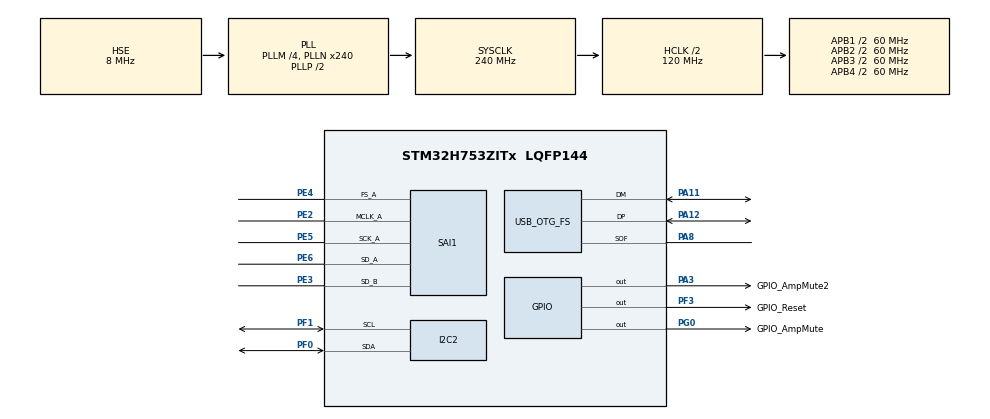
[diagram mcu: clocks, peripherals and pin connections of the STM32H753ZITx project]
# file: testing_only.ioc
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CORTEX_M7.CPU_DCache=Disabled
CORTEX_M7.CPU_ICache=Disabled
CORTEX_M7.MPU_Control=__NULL
CORTEX_M7.default_mode_Activation=1
Dma.Request0=SAI1_A
Dma.Request1=SAI1_B
Dma.SAI1_A.0.Direction=DMA_MEMORY_TO_PERIPH
Dma.SAI1_A.0.EventEnable=DISABLE
Dma.SAI1_A.0.FIFOMode=DMA_FIFOMODE_ENABLE
Dma.SAI1_A.0.FIFOThreshold=DMA_FIFO_THRESHOLD_HALFFULL
Dma.SAI1_A.0.Instance=DMA1_Stream0
Dma.SAI1_A.0.MemBurst=DMA_MBURST_SINGLE
Dma.SAI1_A.0.MemDataAlignment=DMA_MDATAALIGN_WORD
Dma.SAI1_A.0.MemInc=DMA_MINC_ENABLE
Dma.SAI1_A.0.Mode=DMA_CIRCULAR
Dma.SAI1_A.0.PeriphBurst=DMA_PBURST_SINGLE
Dma.SAI1_A.0.PeriphDataAlignment=DMA_PDATAALIGN_WORD
Dma.SAI1_A.0.PeriphInc=DMA_PINC_DISABLE
Dma.SAI1_A.0.Polarity=HAL_DMAMUX_REQ_GEN_RISING
Dma.SAI1_A.0.Priority=DMA_PRIORITY_LOW
Dma.SAI1_A.0.RequestNumber=1
Dma.SAI1_A.0.SignalID=NONE
Dma.SAI1_A.0.SyncEnable=DISABLE
Dma.SAI1_A.0.SyncPolarity=HAL_DMAMUX_SYNC_NO_EVENT
Dma.SAI1_A.0.SyncRequestNumber=1
Dma.SAI1_A.0.SyncSignalID=NONE
Dma.SAI1_B.1.Direction=DMA_MEMORY_TO_PERIPH
Dma.SAI1_B.1.EventEnable=DISABLE
Dma.SAI1_B.1.FIFOMode=DMA_FIFOMODE_ENABLE
Dma.SAI1_B.1.FIFOThreshold=DMA_FIFO_THRESHOLD_HALFFULL
Dma.SAI1_B.1.Instance=DMA1_Stream1
Dma.SAI1_B.1.MemBurst=DMA_MBURST_SINGLE
Dma.SAI1_B.1.MemDataAlignment=DMA_MDATAALIGN_WORD
Dma.SAI1_B.1.MemInc=DMA_MINC_ENABLE
Dma.SAI1_B.1.Mode=DMA_CIRCULAR
Dma.SAI1_B.1.PeriphBurst=DMA_PBURST_SINGLE
Dma.SAI1_B.1.PeriphDataAlignment=DMA_PDATAALIGN_WORD
Dma.SAI1_B.1.PeriphInc=DMA_PINC_DISABLE
Dma.SAI1_B.1.Polarity=HAL_DMAMUX_REQ_GEN_RISING
Dma.SAI1_B.1.Priority=DMA_PRIORITY_LOW
Dma.SAI1_B.1.RequestNumber=1
Dma.SAI1_B.1.SignalID=NONE
Dma.SAI1_B.1.SyncEnable=DISABLE
Dma.SAI1_B.1.SyncPolarity=HAL_DMAMUX_SYNC_NO_EVENT
Dma.SAI1_B.1.SyncRequestNumber=1
Dma.SAI1_B.1.SyncSignalID=NONE
I2C2.Timing=0x107075B0
Mcu.Family=STM32H7
Mcu.Name=STM32H753ZITx
Mcu.Package=LQFP144
Mcu.UserConstants=SAMPLES_PER_FRAME,256;NUM_SLOTS_PER_SAI,8
NUCLEO-H753ZI.BUTTON=1
NUCLEO-H753ZI.LD1=true
NUCLEO-H753ZI.LD2=true
NUCLEO-H753ZI.LD3=true
NUCLEO-H753ZI.VCP=true
NVIC.DMA1_Stream0_IRQn=true\:0\:0\:false\:false\:true\:false\:true\:true
NVIC.DMA1_Stream1_IRQn=true\:0\:0\:false\:false\:true\:false\:true\:true
NVIC.EXTI15_10_IRQn=true\:0\:0\:false\:false\:true\:false\:true\:true
NVIC.OTG_FS_IRQn=true\:0\:0\:false\:false\:true\:false\:true\:true
NVIC.PriorityGroup=NVIC_PRIORITYGROUP_4
PA11.Mode=Device_Only
PA11.Signal=USB_OTG_FS_DM
PA12.Mode=Device_Only
PA12.Signal=USB_OTG_FS_DP
PA3.GPIO_Label=GPIO_AmpMute2
PA3.Signal=GPIO_Output
PA8.Mode=Activate_SOF_FS
PA8.Signal=USB_OTG_FS_SOF
PC14-OSC32_IN\ (OSC32_IN).Signal=RCC_OSC32_IN
PC15-OSC32_OUT\ (OSC32_OUT).Signal=RCC_OSC32_OUT
PE2.Mode=SAI_A_MasterWithClock
PE2.Signal=SAI1_MCLK_A
PE3.Mode=SAI_B_SyncSlave
PE3.Signal=SAI1_SD_B
PE4.Mode=SAI_A_MasterWithClock
PE4.Signal=SAI1_FS_A
PE5.Mode=SAI_A_MasterWithClock
PE5.Signal=SAI1_SCK_A
PE6.Mode=SAI_A_MasterWithClock
PE6.Signal=SAI1_SD_A
PF0.Mode=I2C
PF0.Signal=I2C2_SDA
PF1.Mode=I2C
PF1.Signal=I2C2_SCL
PF3.GPIO_Label=GPIO_Reset
PF3.Signal=GPIO_Output
PG0.GPIO_Label=GPIO_AmpMute
PG0.PinState=GPIO_PIN_SET
PG0.Signal=GPIO_Output
PH0-OSC_IN\ (PH0).Mode=HSE-External-Oscillator
PH0-OSC_IN\ (PH0).Signal=RCC_OSC_IN
PH1-OSC_OUT\ (PH1).Mode=HSE-External-Oscillator
PH1-OSC_OUT\ (PH1).Signal=RCC_OSC_OUT
ProjectManager.HeapSize=0x200
ProjectManager.StackSize=0x400
ProjectManager.TargetToolchain=STM32CubeIDE
RCC.ADCFreq_Value=12288000
RCC.APB1Freq_Value=60000000
RCC.APB2Freq_Value=60000000
RCC.APB3Freq_Value=60000000
RCC.APB4Freq_Value=60000000
RCC.CKPERSourceSelection=RCC_CLKPSOURCE_HSE
RCC.CortexFreq_Value=240000000
RCC.D1PPRE=RCC_APB3_DIV2
RCC.D2PPRE1=RCC_APB1_DIV2
RCC.D2PPRE2=RCC_APB2_DIV2
RCC.D3PPRE=RCC_APB4_DIV2
RCC.DIVM1=4
RCC.DIVM2=5
RCC.DIVM3=2
RCC.DIVN1=240
RCC.DIVN2=192
RCC.DIVN3=192
RCC.DIVP2=25
RCC.DIVP3=6
RCC.DIVQ1=10
RCC.DIVQ3=16
RCC.HCLKFreq_Value=120000000
RCC.HPRE=RCC_HCLK_DIV2
RCC.HSE_VALUE=8000000
RCC.PLL2FRACN=0
RCC.PLL3FRACN=0
RCC.PLLFRACN=0
RCC.PLLSourceVirtual=RCC_PLLSOURCE_HSE
RCC.PWR_Regulator_Voltage_Scale=PWR_REGULATOR_VOLTAGE_SCALE0
RCC.SYSCLKFreq_VALUE=240000000
RCC.SYSCLKSource=RCC_SYSCLKSOURCE_PLLCLK
RCC.USBFreq_Value=48000000
SAI1.AudioFrequency-SAI_A_MasterWithClock=SAI_AUDIO_FREQUENCY_48K
SAI1.AudioMode-SAI_B_SyncSlave=SAI_MODESLAVE_TX
SAI1.DataSize-SAI_A_MasterWithClock=SAI_DATASIZE_24
SAI1.DataSize-SAI_B_SyncSlave=SAI_DATASIZE_24
SAI1.ErrorAudioFreq-SAI_A_MasterWithClock=290.62 %
SAI1.FrameLength-SAI_A_MasterWithClock=256
SAI1.FrameLength-SAI_B_SyncSlave=256
SAI1.Instance-SAI_A_MasterWithClock=SAI$Index_Block_A
SAI1.Instance-SAI_B_SyncSlave=SAI$Index_Block_B
SAI1.MClockEnable-SAI_A_MasterWithClock=SAI_MASTERCLOCK_ENABLE
SAI1.NoDivider-SAI_A_MasterWithClock=SAI_MCK_OVERSAMPLING_DISABLE
SAI1.RealAudioFreq-SAI_A_MasterWithClock=187.5 KHz
SAI1.SlotActive-SAI_A_MasterWithClock=0x000000FF
SAI1.SlotActive-SAI_B_SyncSlave=0x000000FF
SAI1.SlotNumber-SAI_A_MasterWithClock=8
SAI1.SlotNumber-SAI_B_SyncSlave=8
SAI1.SlotSize-SAI_A_MasterWithClock=SAI_SLOTSIZE_32B
SAI1.SlotSize-SAI_B_SyncSlave=SAI_SLOTSIZE_32B
SAI1.VirtualMode-SAI_A_MasterWithClock=VM_MASTER
SAI1.VirtualMode-SAI_B_SyncSlave=VM_SLAVE
SAI1.VirtualSlotActive-SAI_A_MasterWithClock=SAI_SLOT_USERSETTING
SAI1.VirtualSlotActive-SAI_B_SyncSlave=SAI_SLOT_USERSETTING
SAI1.VirtualSlotActive0-SAI_A_MasterWithClock=true
SAI1.VirtualSlotActive0-SAI_B_SyncSlave=true
SAI1.VirtualSlotActive1-SAI_A_MasterWithClock=true
SAI1.VirtualSlotActive1-SAI_B_SyncSlave=true
SAI1.VirtualSlotActive2-SAI_A_MasterWithClock=true
SAI1.VirtualSlotActive2-SAI_B_SyncSlave=true
SAI1.VirtualSlotActive3-SAI_A_MasterWithClock=true
SAI1.VirtualSlotActive3-SAI_B_SyncSlave=true
SAI1.VirtualSlotActive4-SAI_A_MasterWithClock=true
SAI1.VirtualSlotActive4-SAI_B_SyncSlave=true
SAI1.VirtualSlotActive5-SAI_A_MasterWithClock=true
SAI1.VirtualSlotActive5-SAI_B_SyncSlave=true
SAI1.VirtualSlotActive6-SAI_A_MasterWithClock=true
SAI1.VirtualSlotActive6-SAI_B_SyncSlave=true
SAI1.VirtualSlotActive7-SAI_A_MasterWithClock=true
SAI1.VirtualSlotActive7-SAI_B_SyncSlave=true
USB_DEVICE.CLASS_NAME_FS=AUDIO
USB_DEVICE.USBD_AUDIO_FREQ-AUDIO_FS=48000
USB_DEVICE.VirtualMode-AUDIO_FS=Audio
USB_DEVICE.VirtualModeFS=Audio_FS
USB_OTG_FS.VirtualMode=Device_Only
USB_OTG_FS.dma_enable=ENABLE
VP_MEMORYMAP_VS_MEMORYMAP.Mode=CurAppReg
VP_NUCLEO-H753ZI_VS_BSP_COMMON.Mode=COMMON
VP_USB_DEVICE_VS_USB_DEVICE_AUDIO_FS.Mode=AUDIO_FS
board=NUCLEO-H753ZI

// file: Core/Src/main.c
/* USER CODE BEGIN Header */
/**
  ******************************************************************************
  * @file           : main.c
  * @brief          : Main program body
  ******************************************************************************
  * @attention
  *
  * Copyright (c) 2026 STMicroelectronics.
  * All rights reserved.
  *
  * This software is licensed under terms that can be found in the LICENSE file
  * in the root directory of this software component.
  * If no LICENSE file comes with this software, it is provided AS-IS.
  *
  ******************************************************************************
  */
/* USER CODE END Header */
#include "main.h"
#include "usb_device.h"

/* USER CODE BEGIN Includes */
#include <usbd_audio.h>
#include <stdbool.h>
#include "dac.h"
/* USER CODE END Includes */

/* USER CODE BEGIN PM */
extern USBD_HandleTypeDef hUsbDeviceFS;

/* USER CODE END PM */

COM_InitTypeDef BspCOMInit;

I2C_HandleTypeDef hi2c2;

SAI_HandleTypeDef hsai_BlockA1;
SAI_HandleTypeDef hsai_BlockB1;
DMA_HandleTypeDef hdma_sai1_a;
DMA_HandleTypeDef hdma_sai1_b;

/* USER CODE BEGIN PV */
// DMA buffers
#define BUFFER_SIZE (SAMPLES_PER_FRAME * NUM_SLOTS_PER_SAI)

__attribute__((aligned(32))) int32_t audioBuffer_sai1a[BUFFER_SIZE * 2]; // Multiply by 2 for ping-pong buffer.
int32_t * const audioBuffer_sai1a_half = audioBuffer_sai1a + BUFFER_SIZE;
int32_t * const audioBuffer_sai1a_end = audioBuffer_sai1a + 2 * BUFFER_SIZE;

__attribute__((aligned(32))) int32_t audioBuffer_sai1b[BUFFER_SIZE * 2]; // Multiply by 2 for ping-pong buffer.
int32_t * const audioBuffer_sai1b_half = audioBuffer_sai1b + BUFFER_SIZE;

/* USER CODE END PV */

void SystemClock_Config(void);
static void MX_GPIO_Init(void);
static void MX_DMA_Init(void);
static void MX_SAI1_Init(void);
static void MX_I2C2_Init(void);
/* USER CODE BEGIN PFP */
void start_dma()
{
	int err;
	err = HAL_SAI_Transmit_DMA(&hsai_BlockB1, (uint8_t *) audioBuffer_sai1b, sizeof(audioBuffer_sai1b) / sizeof(audioBuffer_sai1b[0]));
	printf("Start DMA on 1B returns %d\r\n", err);
	err = HAL_SAI_Transmit_DMA(&hsai_BlockA1, (uint8_t *) audioBuffer_sai1a, sizeof(audioBuffer_sai1a) / sizeof(audioBuffer_sai1a[0]));
	printf("Start DMA on 1A returned %d\r\n", err);
}

// UART transmit function for printf.
#if 0
int _write(int file, char *ptr, int len)
{
	HAL_UART_Transmit(&huart3, (uint8_t*) ptr, len, HAL_MAX_DELAY);
	return len;
}
#endif

int _write(int file, char *ptr, int len)
{
    for (int i = 0; i < len; i++)
    {
        ITM_SendChar((*ptr++));   // Send each character via ITM
    }
    return len;
}

float sine_wave[48];
float const * sine_end = sine_wave + 48;
float *psine_ptr = sine_wave;

#define SAMPLE_RATE 48000.0f
#define FREQ        1000.0f

void generate_sine_1k(float *buffer)
{
    const int samples = (int)(SAMPLE_RATE / FREQ);   // 48 samples
    for (int i = 0; i < samples; i++)
    {
        float phase = (2.0f * M_PI * i) / samples;
        buffer[i] = 0.3 * sinf(phase);
    }
}

// Subwoofer gain multiplier
float sub_gain = 1.0;

// Buffers for processing beam-forming.
#define CH_BLOCK_SIZE 256
float beam_in_temp[2][CH_BLOCK_SIZE];
float lfe_out[CH_BLOCK_SIZE];
float beam_inp[2][CH_BLOCK_SIZE] = {0};
float beam_out[12][CH_BLOCK_SIZE] = {0};
// Pointers for passing to Beamer library.
float * pbeam_inp[2];
float *pbeam_out[16] = {0};
#define BEAM_OUT_STORAGE_SIZE (CH_BLOCK_SIZE * 8)
// This is a temporary buffer used to store output from the
// beamer. The thirteenth channel is the LFE channel.
float beam_out_storage[13][BEAM_OUT_STORAGE_SIZE] = {0};
int beam_out_read_index_a = 0;
int beam_out_write_index = CH_BLOCK_SIZE * 1;

void init_beamforming_pointers()
{
	pbeam_inp[0] = beam_inp[0];
	pbeam_inp[1] = beam_inp[1];
	for (int i = 0; i < 12; ++i)
	{
		pbeam_out[i] = beam_out[i];
	}
}

size_t avail_usb_samples()
{
	USBD_AUDIO_HandleTypeDef *usba = (USBD_AUDIO_HandleTypeDef *) hUsbDeviceFS.pClassData;
	if (usba == NULL)
		return 0;
	uint16_t r = usba->rd_ptr;
	uint16_t w = usba->wr_ptr;

	r /= 2; // Convert to 16-bit size
	w /= 2;
	return (w >= r) ? (w - r) : (w - r + AUDIO_TOTAL_BUF_SIZE / 2);
}

int16_t next_usb_sample()
{
	USBD_AUDIO_HandleTypeDef *usba = (USBD_AUDIO_HandleTypeDef *) hUsbDeviceFS.pClassData;
	assert(usba->rd_ptr != usba->wr_ptr);
	int16_t rv = *(int16_t *) &usba->buffer[usba->rd_ptr];
	usba->rd_ptr += 2;
	if (usba->rd_ptr == AUDIO_TOTAL_BUF_SIZE)
		usba->rd_ptr = 0;
	return rv;
}

int dma_samples = 0;

void fill_as_much_as_possible2(int32_t *cur_a, int32_t * const cur_a_end, int32_t *cur_b)
{
	static int counter = 0;
	if (counter++ % 256 == 0)
	{
		BSP_LED_Toggle(LED_GREEN);
	}
	bool scan_on = false;
	int scan_channel = -1;
	if (beam_out_read_index_a != beam_out_write_index)
	{
		for (int i = 0; i < SAMPLES_PER_FRAME; ++i)
		{
			int j;
			for (j = 0; j < 13; ++j)
			{
				int32_t temp;
				float tempb = beam_out_storage[j][i + beam_out_read_index_a];
				tempb = fmaxf(-1.0f, fminf(tempb, 1.0));
				temp = (int32_t) (tempb * 2147483647.0f);
				temp >>= 12;
				if (scan_on && j != scan_channel)
					temp = 0;
				if (j < 8)
				{
					*cur_a = temp;
					++cur_a;
				}
				else
				{
					*cur_b = temp;
					++cur_b;
				}
			}
			// Clear out the upper three channels of b.
			for (j = 0; j < 3; ++j)
			{
				*cur_b++ = 0;
			}
		}
		dma_samples++;
		beam_out_read_index_a += CH_BLOCK_SIZE;
		if (beam_out_read_index_a == BEAM_OUT_STORAGE_SIZE)
			beam_out_read_index_a = 0;
		if (beam_out_read_index_a != beam_out_write_index)
		{
			BSP_LED_Toggle(LED_RED);
		}
	}
	else
	{
		int counter = 0;
		while (cur_a != cur_a_end)
		{
			if (0 && (counter++ % 8 == 0))
			{
				float temp = (*psine_ptr++ * 2147483647.0f);
				*cur_a = (int32_t) temp;
				if (psine_ptr == sine_end)
					psine_ptr = sine_wave;
				*cur_a >>= 12;
				*cur_b = 0;
			}
			else
			{
				*cur_a = *cur_b = 0;
			}
			cur_a++;
			cur_b++;
		}
	}
}

void HAL_SAI_TxHalfCpltCallback(SAI_HandleTypeDef *hsai)
{
	if (hsai == &hsai_BlockA1)
	{
		fill_as_much_as_possible2(audioBuffer_sai1a, audioBuffer_sai1a_half, audioBuffer_sai1b);
	}
}

void HAL_SAI_TxCpltCallback(SAI_HandleTypeDef *hsai)
{
	if (hsai == &hsai_BlockA1)
	{
		fill_as_much_as_possible2(audioBuffer_sai1a_half, audioBuffer_sai1a_end, audioBuffer_sai1b_half);
	}
}

volatile int proc_counter = 0;
volatile int proc_diff = 0;

void process_beamer()
{
#if 1
	while (1)
	{
		size_t samples = avail_usb_samples();
		if (samples < CH_BLOCK_SIZE * 2)
			break;

		proc_counter++;
		proc_diff = proc_counter - dma_samples;

		// Transfer int16_t data to floating point in beam_inp[0] and beam_inp[1].
		for (int i = 0; i < CH_BLOCK_SIZE; ++i)
		{
			int16_t usb = next_usb_sample();
			float fusb = (float) usb;
			beam_in_temp[0][i] = fusb * 0.0000152587890625f; // Dividing by 65536
			usb = next_usb_sample();
			fusb = (float) usb;
			beam_in_temp[1][i] = fusb * 0.0000152587890625f;
		}
		// Just copy to the two outputs.
		memcpy(&beam_out_storage[0][beam_out_write_index], beam_in_temp[0], CH_BLOCK_SIZE * sizeof(float));
		memcpy(&beam_out_storage[1][beam_out_write_index], beam_in_temp[1], CH_BLOCK_SIZE * sizeof(float));

		beam_out_write_index += CH_BLOCK_SIZE;
		if (beam_out_write_index == BEAM_OUT_STORAGE_SIZE)
			beam_out_write_index = 0;

		if (beam_out_write_index == beam_out_read_index_a)
		{
			BSP_LED_Toggle(LED_YELLOW);
		}
	}
#endif
}

/* USER CODE END PFP */

int main(void)
{

  /* USER CODE BEGIN 1 */
	init_beamforming_pointers();
	generate_sine_1k(sine_wave);

  /* USER CODE END 1 */

  /* MCU Configuration--------------------------------------------------------*/

  /* Reset of all peripherals, Initializes the Flash interface and the Systick. */
  HAL_Init();

  /* Configure the system clock */
  SystemClock_Config();

  /* Initialize all configured peripherals */
  MX_GPIO_Init();
  MX_DMA_Init();
  MX_USB_DEVICE_Init();
  MX_SAI1_Init();
  MX_I2C2_Init();

  /* Initialize leds */
  BSP_LED_Init(LED_GREEN);
  BSP_LED_Init(LED_YELLOW);
  BSP_LED_Init(LED_RED);

  /* Initialize USER push-button, will be used to trigger an interrupt each time it's pressed.*/
  BSP_PB_Init(BUTTON_USER, BUTTON_MODE_EXTI);

  /* Initialize COM1 port (115200, 8 bits (7-bit data + 1 stop bit), no parity */
  BspCOMInit.BaudRate   = 115200;
  BspCOMInit.WordLength = COM_WORDLENGTH_8B;
  BspCOMInit.StopBits   = COM_STOPBITS_1;
  BspCOMInit.Parity     = COM_PARITY_NONE;
  BspCOMInit.HwFlowCtl  = COM_HWCONTROL_NONE;
  if (BSP_COM_Init(COM1, &BspCOMInit) != BSP_ERROR_NONE)
  {
    Error_Handler();
  }

  /* Infinite loop */
  /* USER CODE BEGIN WHILE */
  start_dma();

  reset_dacs();
  HAL_Delay(100);
  init_dacs();
  printf("Entering loop\n\r");
  mute_dacs(false);
  mute_amps(false);
  while (1)
  {
	  HAL_Delay(2);
	  process_beamer();

    /* USER CODE END WHILE */

  }
}

void SystemClock_Config(void)
{
  RCC_OscInitTypeDef RCC_OscInitStruct = {0};
  RCC_ClkInitTypeDef RCC_ClkInitStruct = {0};

  /** Supply configuration update enable
  */
  HAL_PWREx_ConfigSupply(PWR_LDO_SUPPLY);

  /** Configure the main internal regulator output voltage
  */
  __HAL_PWR_VOLTAGESCALING_CONFIG(PWR_REGULATOR_VOLTAGE_SCALE0);

  while(!__HAL_PWR_GET_FLAG(PWR_FLAG_VOSRDY)) {}

  /** Initializes the RCC Oscillators according to the specified parameters
  * in the RCC_OscInitTypeDef structure.
  */
  RCC_OscInitStruct.OscillatorType = RCC_OSCILLATORTYPE_HSE;
  RCC_OscInitStruct.HSEState = RCC_HSE_ON;
  RCC_OscInitStruct.PLL.PLLState = RCC_PLL_ON;
  RCC_OscInitStruct.PLL.PLLSource = RCC_PLLSOURCE_HSE;
  RCC_OscInitStruct.PLL.PLLM = 4;
  RCC_OscInitStruct.PLL.PLLN = 240;
  RCC_OscInitStruct.PLL.PLLP = 2;
  RCC_OscInitStruct.PLL.PLLQ = 10;
  RCC_OscInitStruct.PLL.PLLR = 2;
  RCC_OscInitStruct.PLL.PLLRGE = RCC_PLL1VCIRANGE_1;
  RCC_OscInitStruct.PLL.PLLVCOSEL = RCC_PLL1VCOWIDE;
  RCC_OscInitStruct.PLL.PLLFRACN = 0;
  if (HAL_RCC_OscConfig(&RCC_OscInitStruct) != HAL_OK)
  {
    Error_Handler();
  }

  /** Initializes the CPU, AHB and APB buses clocks
  */
  RCC_ClkInitStruct.ClockType = RCC_CLOCKTYPE_HCLK|RCC_CLOCKTYPE_SYSCLK
                              |RCC_CLOCKTYPE_PCLK1|RCC_CLOCKTYPE_PCLK2
                              |RCC_CLOCKTYPE_D3PCLK1|RCC_CLOCKTYPE_D1PCLK1;
  RCC_ClkInitStruct.SYSCLKSource = RCC_SYSCLKSOURCE_PLLCLK;
  RCC_ClkInitStruct.SYSCLKDivider = RCC_SYSCLK_DIV1;
  RCC_ClkInitStruct.AHBCLKDivider = RCC_HCLK_DIV2;
  RCC_ClkInitStruct.APB3CLKDivider = RCC_APB3_DIV2;
  RCC_ClkInitStruct.APB1CLKDivider = RCC_APB1_DIV2;
  RCC_ClkInitStruct.APB2CLKDivider = RCC_APB2_DIV2;
  RCC_ClkInitStruct.APB4CLKDivider = RCC_APB4_DIV2;

  if (HAL_RCC_ClockConfig(&RCC_ClkInitStruct, FLASH_LATENCY_1) != HAL_OK)
  {
    Error_Handler();
  }
}

static void MX_I2C2_Init(void)
{

  hi2c2.Instance = I2C2;
  hi2c2.Init.Timing = 0x107075B0;
  hi2c2.Init.OwnAddress1 = 0;
  hi2c2.Init.AddressingMode = I2C_ADDRESSINGMODE_7BIT;
  hi2c2.Init.DualAddressMode = I2C_DUALADDRESS_DISABLE;
  hi2c2.Init.OwnAddress2 = 0;
  hi2c2.Init.OwnAddress2Masks = I2C_OA2_NOMASK;
  hi2c2.Init.GeneralCallMode = I2C_GENERALCALL_DISABLE;
  hi2c2.Init.NoStretchMode = I2C_NOSTRETCH_DISABLE;
  if (HAL_I2C_Init(&hi2c2) != HAL_OK)
  {
    Error_Handler();
  }

  /** Configure Analogue filter
  */
  if (HAL_I2CEx_ConfigAnalogFilter(&hi2c2, I2C_ANALOGFILTER_ENABLE) != HAL_OK)
  {
    Error_Handler();
  }

  /** Configure Digital filter
  */
  if (HAL_I2CEx_ConfigDigitalFilter(&hi2c2, 0) != HAL_OK)
  {
    Error_Handler();
  }

}

static void MX_SAI1_Init(void)
{

  hsai_BlockA1.Instance = SAI1_Block_A;
  hsai_BlockA1.Init.Protocol = SAI_FREE_PROTOCOL;
  hsai_BlockA1.Init.AudioMode = SAI_MODEMASTER_TX;
  hsai_BlockA1.Init.DataSize = SAI_DATASIZE_24;
  hsai_BlockA1.Init.FirstBit = SAI_FIRSTBIT_MSB;
  hsai_BlockA1.Init.ClockStrobing = SAI_CLOCKSTROBING_FALLINGEDGE;
  hsai_BlockA1.Init.Synchro = SAI_ASYNCHRONOUS;
  hsai_BlockA1.Init.OutputDrive = SAI_OUTPUTDRIVE_DISABLE;
  hsai_BlockA1.Init.NoDivider = SAI_MCK_OVERSAMPLING_DISABLE;
  hsai_BlockA1.Init.MckOverSampling = SAI_MCK_OVERSAMPLING_DISABLE;
  hsai_BlockA1.Init.FIFOThreshold = SAI_FIFOTHRESHOLD_EMPTY;
  hsai_BlockA1.Init.AudioFrequency = SAI_AUDIO_FREQUENCY_48K;
  hsai_BlockA1.Init.SynchroExt = SAI_SYNCEXT_DISABLE;
  hsai_BlockA1.Init.MonoStereoMode = SAI_STEREOMODE;
  hsai_BlockA1.Init.CompandingMode = SAI_NOCOMPANDING;
  hsai_BlockA1.Init.TriState = SAI_OUTPUT_NOTRELEASED;
  hsai_BlockA1.Init.PdmInit.Activation = DISABLE;
  hsai_BlockA1.Init.PdmInit.MicPairsNbr = 1;
  hsai_BlockA1.Init.PdmInit.ClockEnable = SAI_PDM_CLOCK1_ENABLE;
  hsai_BlockA1.FrameInit.FrameLength = 256;
  hsai_BlockA1.FrameInit.ActiveFrameLength = 1;
  hsai_BlockA1.FrameInit.FSDefinition = SAI_FS_STARTFRAME;
  hsai_BlockA1.FrameInit.FSPolarity = SAI_FS_ACTIVE_LOW;
  hsai_BlockA1.FrameInit.FSOffset = SAI_FS_FIRSTBIT;
  hsai_BlockA1.SlotInit.FirstBitOffset = 0;
  hsai_BlockA1.SlotInit.SlotSize = SAI_SLOTSIZE_32B;
  hsai_BlockA1.SlotInit.SlotNumber = 8;
  hsai_BlockA1.SlotInit.SlotActive = 0x000000FF;
  if (HAL_SAI_Init(&hsai_BlockA1) != HAL_OK)
  {
    Error_Handler();
  }
  hsai_BlockB1.Instance = SAI1_Block_B;
  hsai_BlockB1.Init.Protocol = SAI_FREE_PROTOCOL;
  hsai_BlockB1.Init.AudioMode = SAI_MODESLAVE_TX;
  hsai_BlockB1.Init.DataSize = SAI_DATASIZE_24;
  hsai_BlockB1.Init.FirstBit = SAI_FIRSTBIT_MSB;
  hsai_BlockB1.Init.ClockStrobing = SAI_CLOCKSTROBING_FALLINGEDGE;
  hsai_BlockB1.Init.Synchro = SAI_SYNCHRONOUS;
  hsai_BlockB1.Init.OutputDrive = SAI_OUTPUTDRIVE_DISABLE;
  hsai_BlockB1.Init.MckOverSampling = SAI_MCK_OVERSAMPLING_DISABLE;
  hsai_BlockB1.Init.FIFOThreshold = SAI_FIFOTHRESHOLD_EMPTY;
  hsai_BlockB1.Init.SynchroExt = SAI_SYNCEXT_DISABLE;
  hsai_BlockB1.Init.MonoStereoMode = SAI_STEREOMODE;
  hsai_BlockB1.Init.CompandingMode = SAI_NOCOMPANDING;
  hsai_BlockB1.Init.TriState = SAI_OUTPUT_NOTRELEASED;
  hsai_BlockB1.Init.PdmInit.Activation = DISABLE;
  hsai_BlockB1.Init.PdmInit.MicPairsNbr = 1;
  hsai_BlockB1.Init.PdmInit.ClockEnable = SAI_PDM_CLOCK1_ENABLE;
  hsai_BlockB1.FrameInit.FrameLength = 256;
  hsai_BlockB1.FrameInit.ActiveFrameLength = 1;
  hsai_BlockB1.FrameInit.FSDefinition = SAI_FS_STARTFRAME;
  hsai_BlockB1.FrameInit.FSPolarity = SAI_FS_ACTIVE_LOW;
  hsai_BlockB1.FrameInit.FSOffset = SAI_FS_FIRSTBIT;
  hsai_BlockB1.SlotInit.FirstBitOffset = 0;
  hsai_BlockB1.SlotInit.SlotSize = SAI_SLOTSIZE_32B;
  hsai_BlockB1.SlotInit.SlotNumber = 8;
  hsai_BlockB1.SlotInit.SlotActive = 0x000000FF;
  if (HAL_SAI_Init(&hsai_BlockB1) != HAL_OK)
  {
    Error_Handler();
  }

}

static void MX_DMA_Init(void)
{

  /* DMA controller clock enable */
  __HAL_RCC_DMA1_CLK_ENABLE();

  /* DMA interrupt init */
  /* DMA1_Stream0_IRQn interrupt configuration */
  HAL_NVIC_SetPriority(DMA1_Stream0_IRQn, 0, 0);
  HAL_NVIC_EnableIRQ(DMA1_Stream0_IRQn);
  /* DMA1_Stream1_IRQn interrupt configuration */
  HAL_NVIC_SetPriority(DMA1_Stream1_IRQn, 0, 0);
  HAL_NVIC_EnableIRQ(DMA1_Stream1_IRQn);

}

static void MX_GPIO_Init(void)
{
  GPIO_InitTypeDef GPIO_InitStruct = {0};

  /* GPIO Ports Clock Enable */
  __HAL_RCC_GPIOE_CLK_ENABLE();
  __HAL_RCC_GPIOC_CLK_ENABLE();
  __HAL_RCC_GPIOF_CLK_ENABLE();
  __HAL_RCC_GPIOH_CLK_ENABLE();
  __HAL_RCC_GPIOA_CLK_ENABLE();
  __HAL_RCC_GPIOG_CLK_ENABLE();

  /*Configure GPIO pin Output Level */
  HAL_GPIO_WritePin(GPIO_Reset_GPIO_Port, GPIO_Reset_Pin, GPIO_PIN_RESET);

  /*Configure GPIO pin Output Level */
  HAL_GPIO_WritePin(GPIO_AmpMute2_GPIO_Port, GPIO_AmpMute2_Pin, GPIO_PIN_RESET);

  /*Configure GPIO pin Output Level */
  HAL_GPIO_WritePin(GPIO_AmpMute_GPIO_Port, GPIO_AmpMute_Pin, GPIO_PIN_SET);

  /*Configure GPIO pin : GPIO_Reset_Pin */
  GPIO_InitStruct.Pin = GPIO_Reset_Pin;
  GPIO_InitStruct.Mode = GPIO_MODE_OUTPUT_PP;
  GPIO_InitStruct.Pull = GPIO_NOPULL;
  GPIO_InitStruct.Speed = GPIO_SPEED_FREQ_LOW;
  HAL_GPIO_Init(GPIO_Reset_GPIO_Port, &GPIO_InitStruct);

  /*Configure GPIO pin : GPIO_AmpMute2_Pin */
  GPIO_InitStruct.Pin = GPIO_AmpMute2_Pin;
  GPIO_InitStruct.Mode = GPIO_MODE_OUTPUT_PP;
  GPIO_InitStruct.Pull = GPIO_NOPULL;
  GPIO_InitStruct.Speed = GPIO_SPEED_FREQ_LOW;
  HAL_GPIO_Init(GPIO_AmpMute2_GPIO_Port, &GPIO_InitStruct);

  /*Configure GPIO pin : GPIO_AmpMute_Pin */
  GPIO_InitStruct.Pin = GPIO_AmpMute_Pin;
  GPIO_InitStruct.Mode = GPIO_MODE_OUTPUT_PP;
  GPIO_InitStruct.Pull = GPIO_NOPULL;
  GPIO_InitStruct.Speed = GPIO_SPEED_FREQ_LOW;
  HAL_GPIO_Init(GPIO_AmpMute_GPIO_Port, &GPIO_InitStruct);

}

void Error_Handler(void)
{
  __disable_irq();
  while (1)
  {
  }
}
